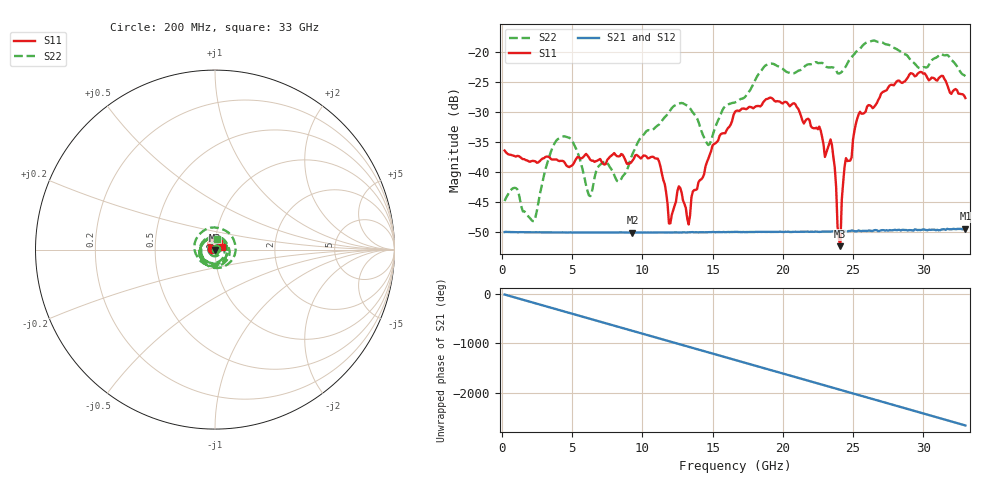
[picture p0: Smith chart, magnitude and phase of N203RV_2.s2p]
# GHZ S RI R 50
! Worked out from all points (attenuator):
!   329 points, 200 MHz to 33 GHz, reference 50 ohm
!   highest |S21| = -49.41 dB at 33 GHz (marker M1); lowest = -50.1 dB at 9.3 GHz (marker M2)
!   lowest |S11| = -52.3 dB at 24.1 GHz (marker M3), VSWR 1.00, Z = 50.1 - j0.207 ohm
!   |S11| at or under -10 dB: start of sweep to end of sweep
!   |S22| runs from -48.2 to -18.1 dB; largest |S21 - S12| = 7.2e-05
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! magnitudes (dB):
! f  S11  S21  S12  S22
! 200 MHz  -36.4  -50.0  -49.9  -44.8
! 2.3 GHz  -38.2  -50.0  -50.0  -48.1
! 4.3 GHz  -38.1  -50.0  -50.0  -34.1
! 5.7 GHz  -37.7  -50.0  -50.0  -39.1
! 6.3 GHz  -38.0  -50.1  -50.0  -44.0
! 7 GHz  -37.8  -50.1  -50.0  -38.8
! 8.3 GHz  -37.4  -50.1  -50.1  -41.6
! 9.3 GHz  -38.1  -50.1  -50.0  -37.0
! 11.2 GHz  -38.3  -50.0  -50.0  -32.1
! 11.9 GHz  -48.6  -50.0  -50.0  -30.0
! 12.6 GHz  -42.4  -50.1  -50.0  -28.6
! 13.3 GHz  -48.7  -50.0  -50.0  -29.1
! 14.7 GHz  -37.8  -50.0  -50.0  -35.5
! 16.6 GHz  -30.0  -50.0  -50.0  -28.4
! 18.9 GHz  -27.8  -50.0  -49.9  -22.1
! 22.1 GHz  -32.6  -49.9  -49.9  -22.0
! 23.5 GHz  -35.5  -49.9  -49.8  -22.5
! 24.1 GHz  -52.3  -49.9  -49.8  -23.5
! 24.4 GHz  -39.1  -49.8  -49.7  -22.7
! 25.3 GHz  -31.1  -49.8  -49.8  -19.8
! 27.6 GHz  -25.6  -49.7  -49.7  -18.9
! 33 GHz  -27.7  -49.4  -49.4  -24.0
